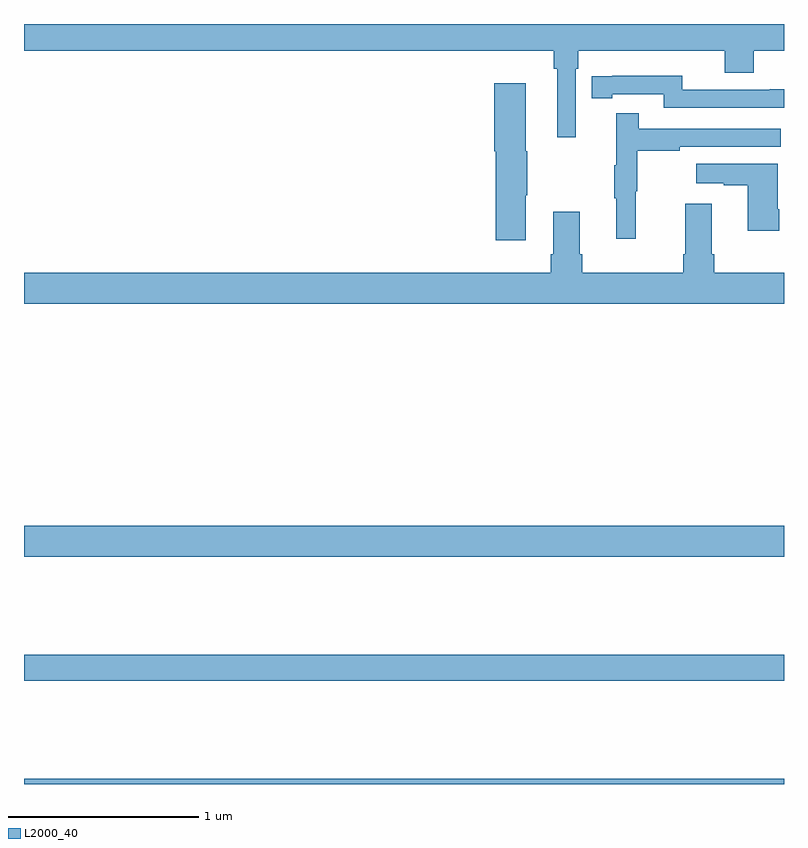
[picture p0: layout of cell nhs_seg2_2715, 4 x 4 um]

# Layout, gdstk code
import gdstk
lib = gdstk.Library(unit=1e-6, precision=1e-09)
def R(c, l, rs):  # rectangles x0, y0, x1, y1
    for r in rs: c.add(gdstk.rectangle(r[:2], r[2:], *l))
def P(c, l, *ps):  # polygons
    for p in ps: c.add(gdstk.Polygon(p, *l))
L2000_40 = (2000, 40)

nhs_seg2_2715 = lib.new_cell('nhs_seg2_2715')
R(nhs_seg2_2715, L2000_40, [(253,619.8,257,619.828), (253,620.344,257,620.48), (253,620.996,257,621.16)])
P(nhs_seg2_2715, L2000_40, [(255.903,623.564),(255.917,623.564),(255.917,623.66),(256.688,623.66),(256.688,623.543),(256.841,623.543),(256.841,623.66),(257,623.66),(257,623.8),(253,623.8),(253,623.66),(255.787,623.66),(255.787,623.564),(255.806,623.564),(255.806,623.205),(255.903,623.205)],
  [(257,623.456),(256.924,623.456),(256.924,623.454),(256.464,623.454),(256.464,623.527),(256.096,623.527),(256.096,623.526),(255.988,623.526),(255.988,623.41),(256.096,623.41),(256.096,623.43),(256.368,623.43),(256.368,623.358),(257,623.358)],
  [(255.64,622.9),(255.648,622.9),(255.648,623.13),(255.64,623.13),(255.64,623.488),(255.476,623.488),(255.476,623.13),(255.482,623.13),(255.482,622.662),(255.64,622.662)],
  [(256.22,622.92),(256.228,622.92),(256.228,623.134),(256.451,623.134),(256.451,623.154),(256.984,623.154),(256.984,623.25),(256.235,623.25),(256.235,623.329),(256.118,623.329),(256.118,623.057),(256.107,623.057),(256.107,622.883),(256.118,622.883),(256.118,622.671),(256.22,622.671)],
  [(256.974,622.825),(256.966,622.825),(256.966,623.065),(256.539,623.065),(256.539,622.961),(256.682,622.961),(256.682,622.951),(256.808,622.951),(256.808,622.713),(256.974,622.713)],
  [(257,622.492),(256.634,622.492),(256.634,622.588),(256.621,622.588),(256.621,622.855),(256.481,622.855),(256.481,622.588),(256.469,622.588),(256.469,622.492),(255.938,622.492),(255.938,622.588),(255.925,622.588),(255.925,622.813),(255.785,622.813),(255.785,622.588),(255.773,622.588),(255.773,622.492),(253,622.492),(253,622.328),(257,622.328)])

lib.write_gds('nhs_seg2_2715.gds')
